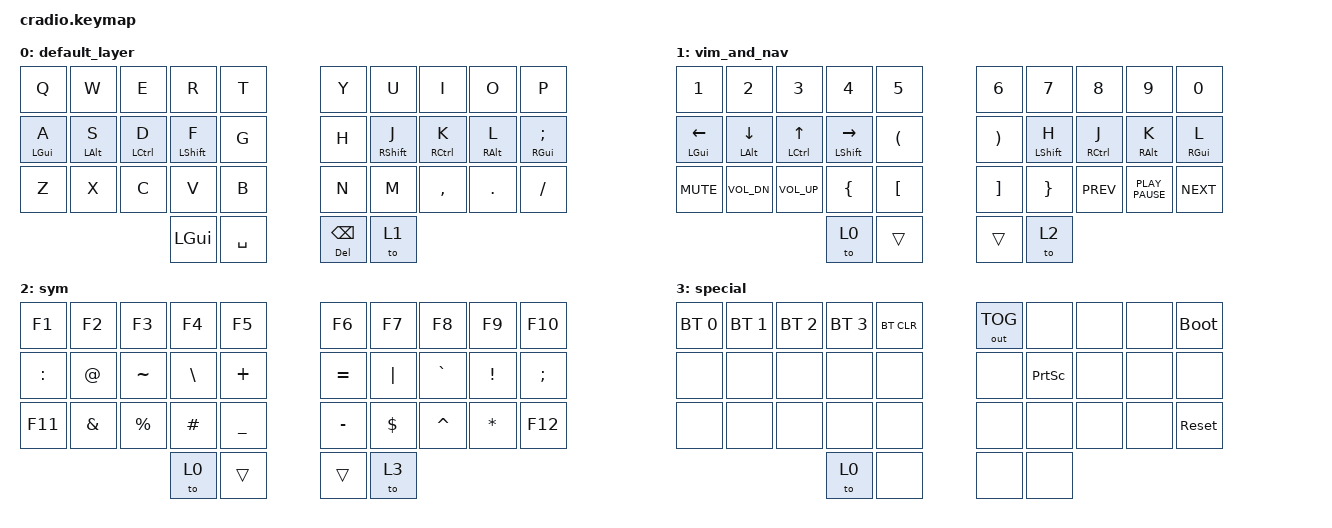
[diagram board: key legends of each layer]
// Copyright (c) 2022 The ZMK Contributors
// SPDX-License-Identifier: MIT

#include <behaviors.dtsi>
#include <dt-bindings/zmk/bt.h>
#include <dt-bindings/zmk/keys.h>
#include <dt-bindings/zmk/outputs.h>

// Home row mods macro
//define HRML(k1,k2,k3,k4) &ht LSHFT k1  &ht LALT k2  &ht LCTRL k3  &ht LGUI k4
//define HRMR(k1,k2,k3,k4) &ht RGUI k1  &ht RCTRL k2  &ht RALT k3  &ht RSHFT k4

/ {
    behaviors {
        ht: hold_tap {
            compatible = "zmk,behavior-hold-tap";
            #binding-cells = <2>;
            flavor = "tap-preferred";
            tapping-term-ms = <200>;
            quick-tap-ms = <175>;
            require-prior-idle-ms = <150>;
            bindings = <&kp>, <&kp>;
        };

        hml: hml {
            compatible = "zmk,behavior-hold-tap";
            label = "HML";
            bindings = <&kp>, <&kp>;

            #binding-cells = <2>;
            tapping-term-ms = <300>;
            quick-tap-ms = <175>;
            require-prior-idle-ms = <150>;
            flavor = "balanced";
            hold-trigger-on-release;
            hold-trigger-key-positions = <30 31 32 33 5 6 7 8 9 15 16 17 18 19 25 26 27 28 29>;
        };

        hmr: hmr {
            compatible = "zmk,behavior-hold-tap";
            label = "HMR";
            bindings = <&kp>, <&kp>;

            #binding-cells = <2>;
            tapping-term-ms = <300>;
            quick-tap-ms = <175>;
            require-prior-idle-ms = <150>;
            flavor = "balanced";
            hold-trigger-on-release;
            hold-trigger-key-positions = <30 31 32 33 0 1 2 3 4 10 11 12 13 14 20 21 22 23 24>;
        };
    };

    conditional_layers { compatible = "zmk,conditional-layers"; };

    combos {
        compatible = "zmk,combos";

        combo_sys_reset {
            bindings = <&sys_reset>;
            key-positions = <26 29 20 23>;
            layers = <3>;
        };

        combo_boot_reset {
            bindings = <&bootloader>;
            key-positions = <20 23 26 29 27 22>;
            layers = <3>;
        };

        combo_tab {
            bindings = <&kp TAB>;
            key-positions = <31 32>;
            layers = <0 1 2 3>;
        };

        combo_esc {
            bindings = <&kp ESCAPE>;
            key-positions = <30 32>;
            layers = <0 1 2 3>;
        };

        combo_screenshot {
            bindings = <&kp PRINTSCREEN>;
            key-positions = <0 1 9>;
            layers = <1 0 2 3>;
        };
    };

    keymap {
        compatible = "zmk,keymap";

        default_layer {
            bindings = <
&kp Q            &kp W            &kp E         &kp R         &kp T        &kp Y                 &kp U         &kp I         &kp O             &kp P
&hml LEFT_GUI A  &hml LEFT_ALT S  &hml LCTRL D  &hml LSHFT F  &kp G        &kp H                 &hmr RSHFT J  &hmr RCTRL K  &hmr RIGHT_ALT L  &hmr RIGHT_GUI SEMICOLON
&kp Z            &kp X            &kp C         &kp V         &kp B        &kp N                 &kp M         &kp COMMA     &kp DOT           &kp SLASH
                                                &kp LEFT_GUI  &kp SPACE    &ht DELETE BACKSPACE  &to 1
            >;
        };

        vim_and_nav {
            bindings = <
&kp NUMBER_1              &kp NUMBER_2        &kp NUMBER_3         &kp NUMBER_4           &kp NUMBER_5            &kp NUMBER_6           &kp NUMBER_7       &kp NUMBER_8  &kp NUMBER_9      &kp NUMBER_0
&hml LEFT_GUI LEFT_ARROW  &hml LEFT_ALT DOWN  &hml LCTRL UP_ARROW  &hml LEFT_SHIFT RIGHT  &kp LEFT_PARENTHESIS    &kp RIGHT_PARENTHESIS  &hmr LEFT_SHIFT H  &hmr RCTRL J  &hmr RIGHT_ALT K  &hmr RIGHT_GUI L
&kp K_MUTE                &kp C_VOL_DN        &kp C_VOL_UP         &kp LEFT_BRACE         &kp LEFT_BRACKET        &kp RIGHT_BRACKET      &kp RIGHT_BRACE    &kp K_PREV    &kp K_PLAY_PAUSE  &kp K_NEXT
                                                                   &to 0                  &trans                  &trans                 &to 2
            >;
        };

        sym {
            bindings = <
&kp F1     &kp F2         &kp F3       &kp F4         &kp F5            &kp F6     &kp F7      &kp F8     &kp F9           &kp F10
&kp COLON  &kp AT         &kp TILDE    &kp BACKSLASH  &kp PLUS          &kp EQUAL  &kp PIPE    &kp GRAVE  &kp EXCLAMATION  &kp SEMICOLON
&kp F11    &kp AMPERSAND  &kp PERCENT  &kp HASH       &kp UNDERSCORE    &kp MINUS  &kp DOLLAR  &kp CARET  &kp ASTERISK     &kp F12
                                       &to 0          &trans            &trans     &to 3
            >;
        };

        special {
            bindings = <
&bt BT_SEL 0  &bt BT_SEL 1  &bt BT_SEL 2  &bt BT_SEL 3  &bt BT_CLR    &out OUT_TOG  &none            &none  &none  &bootloader
&none         &none         &none         &none         &none         &none         &kp PRINTSCREEN  &none  &none  &none
&none         &none         &none         &none         &none         &none         &none            &none  &none  &sys_reset
                                          &to 0         &none         &none         &none
            >;
        };
    };
};
